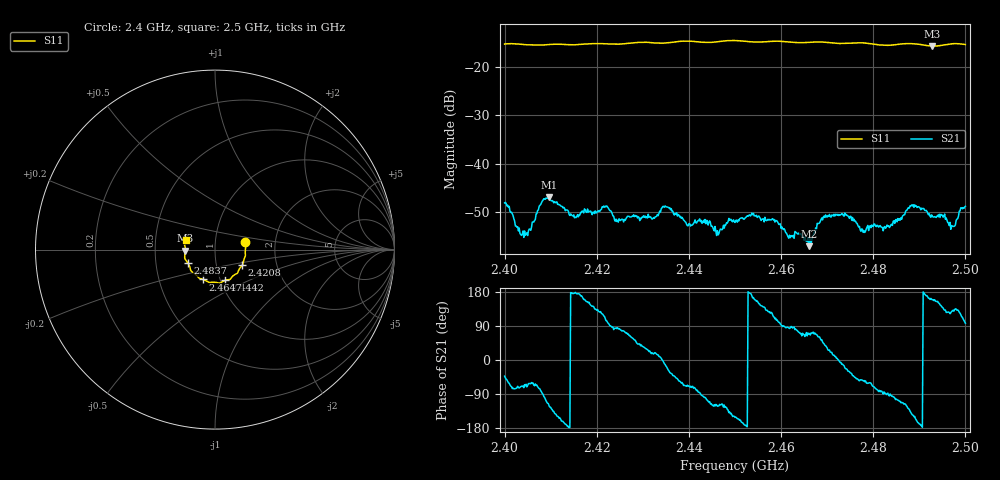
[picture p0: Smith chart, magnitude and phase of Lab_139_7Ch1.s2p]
# Hz S RI R 50
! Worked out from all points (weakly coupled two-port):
!   601 points, 2.4 GHz to 2.5 GHz, reference 50 ohm
!   highest |S21| = -46.93 dB at 2.4097 GHz (marker M1); lowest = -57.1 dB at 2.466 GHz (marker M2)
!   lowest |S11| = -15.6 dB at 2.4928 GHz (marker M3), VSWR 1.40, Z = 35.8 - j0.375 ohm
!   |S11| at or under -10 dB: start of sweep to end of sweep
!   S12 and S22 are empty: the file has one direction only
!   S11 on the Smith chart (normalised r, x): 2.4 GHz: 1.40, +0.12; 2.4208 GHz: 1.33, -0.24; 2.4442 GHz: 1.05, -0.37; 2.4647 GHz: 0.83, -0.29; 2.4837 GHz: 0.73, -0.11; 2.5 GHz: 0.72, +0.08
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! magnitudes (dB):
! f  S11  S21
! 2.4 GHz  -15.2  -48.1
! 2.4047 GHz  -15.4  -54.5
! 2.4097 GHz  -15.3  -46.9
! 2.4167 GHz  -15.3  -50.1
! 2.4208 GHz  -15.1  -49.6
! 2.4245 GHz  -15.2  -51.7
! 2.4333 GHz  -15.0  -50.7
! 2.4442 GHz  -14.9  -52.7
! 2.4463 GHz  -14.7  -54.8
! 2.45 GHz  -14.5  -52.2
! 2.4542 GHz  -14.8  -50.8
! 2.4647 GHz  -14.9  -55.2
! 2.466 GHz  -14.9  -57.1
! 2.4667 GHz  -14.8  -55.9
! 2.4702 GHz  -14.9  -50.7
! 2.4778 GHz  -15.0  -54.2
! 2.4833 GHz  -15.5  -52.8
! 2.4837 GHz  -15.5  -53.0
! 2.4885 GHz  -15.1  -48.7
! 2.4928 GHz  -15.6  -50.9
! 2.4973 GHz  -15.1  -53.0
! 2.5 GHz  -15.3  -48.8
